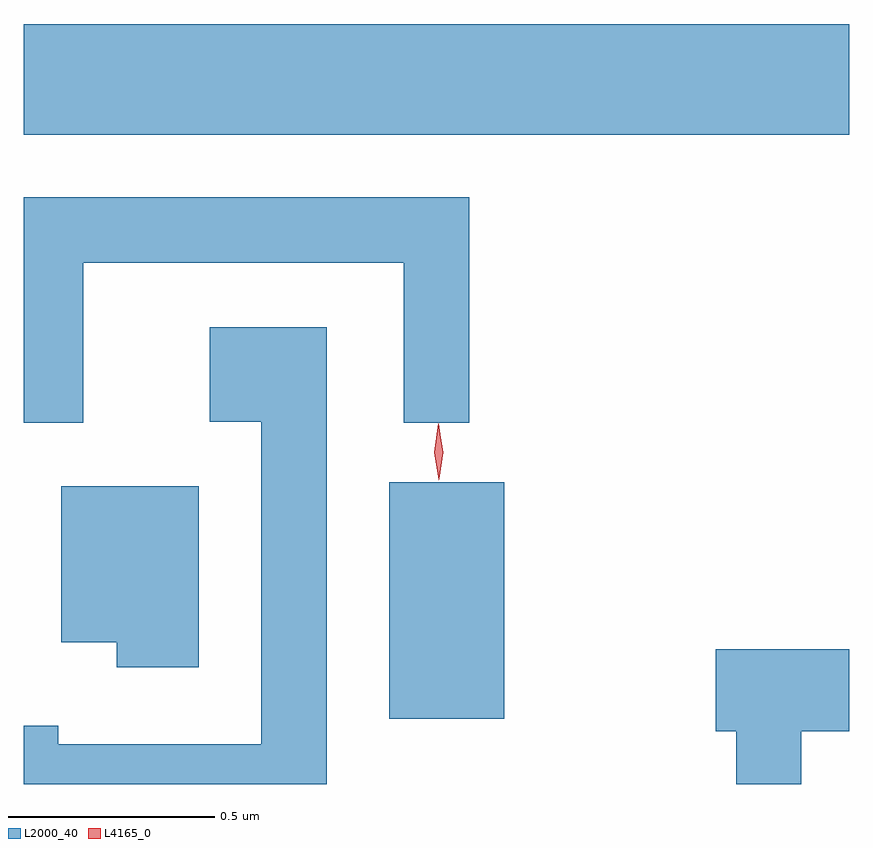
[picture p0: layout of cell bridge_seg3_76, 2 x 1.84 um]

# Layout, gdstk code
import gdstk
lib = gdstk.Library(unit=1e-6, precision=1e-09)
def R(c, l, rs):  # rectangles x0, y0, x1, y1
    for r in rs: c.add(gdstk.rectangle(r[:2], r[2:], *l))
def P(c, l, *ps):  # polygons
    for p in ps: c.add(gdstk.Polygon(p, *l))
L2000_40 = (2000, 40)
L4165_0 = (4165, 0)

bridge_seg3_76 = lib.new_cell('bridge_seg3_76')
R(bridge_seg3_76, L2000_40, [(1130.226,1166.781,1130.504,1167.354), (1129.34,1168.196,1131.34,1168.464)])
P(bridge_seg3_76, L2000_40, [(1129.484,1167.886),(1130.261,1167.886),(1130.261,1167.498),(1130.419,1167.498),(1130.419,1168.044),(1129.34,1168.044),(1129.34,1167.498),(1129.484,1167.498)],
  [(1130.074,1167.729),(1129.791,1167.729),(1129.791,1167.501),(1129.916,1167.501),(1129.916,1166.719),(1129.424,1166.719),(1129.424,1166.764),(1129.34,1166.764),(1129.34,1166.623),(1130.074,1166.623)],
  [(1129.764,1167.344),(1129.431,1167.344),(1129.431,1166.966),(1129.566,1166.966),(1129.566,1166.906),(1129.764,1166.906)],
  [(1131.224,1166.751),(1131.34,1166.751),(1131.34,1166.949),(1131.016,1166.949),(1131.016,1166.751),(1131.066,1166.751),(1131.066,1166.623),(1131.224,1166.623)])
P(bridge_seg3_76, L4165_0, [(1130.347,1167.361),(1130.346,1167.362),(1130.335,1167.427),(1130.344,1167.492),(1130.344,1167.493),(1130.345,1167.492),(1130.356,1167.427),(1130.347,1167.362)],
  [(1130.346,1167.359),(1130.346,1167.36),(1130.335,1167.427),(1130.344,1167.496),(1130.344,1167.496),(1130.345,1167.496),(1130.355,1167.428),(1130.346,1167.36)])

lib.write_gds('bridge_seg3_76.gds')
